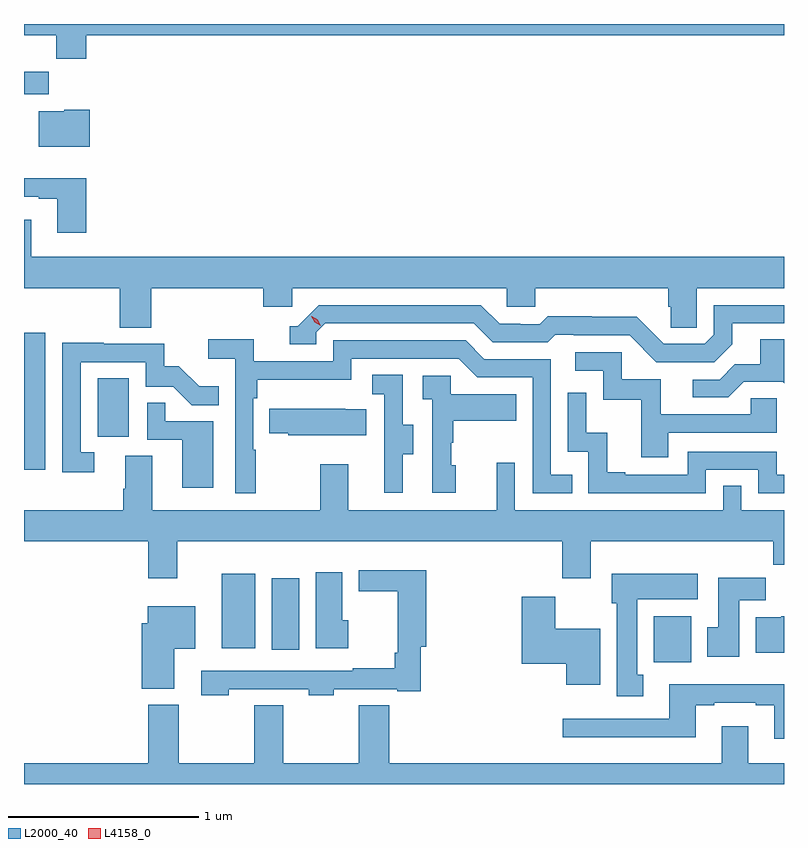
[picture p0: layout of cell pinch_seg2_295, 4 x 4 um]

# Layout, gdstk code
import gdstk
lib = gdstk.Library(unit=1e-6, precision=1e-09)
def R(c, l, rs):  # rectangles x0, y0, x1, y1
    for r in rs: c.add(gdstk.rectangle(r[:2], r[2:], *l))
def P(c, l, *ps):  # polygons
    for p in ps: c.add(gdstk.Polygon(p, *l))
L2000_40 = (2000, 40)
L4158_0 = (4158, 0)

pinch_seg2_295 = lib.new_cell('pinch_seg2_295')
R(pinch_seg2_295, L2000_40, [(915.722,640.34,915.919,640.582), (913.712,640.404,913.855,640.78), (913.448,640.412,913.624,640.804), (912.407,641.352,912.52,642.073), (912.794,641.526,912.958,641.833), (912.407,643.328,912.536,643.446)])
P(pinch_seg2_295, L2000_40, [(912.734,643.64),(916.407,643.64),(916.407,643.698),(912.407,643.698),(912.407,643.64),(912.577,643.64),(912.577,643.516),(912.734,643.516)],
  [(912.754,643.246),(912.618,643.246),(912.618,643.24),(912.485,643.24),(912.485,643.052),(912.754,643.052)],
  [(912.734,642.886),(912.407,642.886),(912.407,642.789),(912.485,642.789),(912.485,642.777),(912.581,642.777),(912.581,642.6),(912.734,642.6)],
  [(913.076,642.308),(913.667,642.308),(913.667,642.21),(913.818,642.21),(913.818,642.308),(914.949,642.308),(914.949,642.21),(915.099,642.21),(915.099,642.308),(915.797,642.308),(915.797,642.21),(915.811,642.21),(915.811,642.1),(915.948,642.1),(915.948,642.308),(916.407,642.308),(916.407,642.472),(912.445,642.472),(912.445,642.667),(912.407,642.667),(912.407,642.308),(912.911,642.308),(912.911,642.1),(913.076,642.1)],
  [(916.135,642.013),(916.135,642.123),(916.407,642.123),(916.407,642.219),(916.038,642.219),(916.038,642.063),(915.99,642.015),(915.774,642.015),(915.632,642.157),(915.396,642.157),(915.396,642.16),(915.163,642.16),(915.121,642.117),(915.018,642.117),(915.018,642.12),(914.911,642.12),(914.812,642.219),(913.959,642.219),(913.848,642.108),(913.805,642.108),(913.805,642.012),(913.944,642.012),(913.944,642.075),(913.992,642.123),(914.775,642.123),(914.874,642.024),(915.163,642.024),(915.202,642.063),(915.301,642.063),(915.301,642.06),(915.594,642.06),(915.735,641.919),(916.041,641.919)],
  [(916.195,641.814),(916.401,641.814),(916.407,641.808),(916.407,642.038),(916.283,642.038),(916.283,641.906),(916.148,641.906),(916.068,641.826),(915.927,641.826),(915.927,641.733),(916.114,641.733)],
  [(913.627,641.456),(913.614,641.456),(913.614,641.729),(913.634,641.729),(913.634,641.825),(914.13,641.825),(914.13,641.937),(914.694,641.937),(914.793,641.838),(915.084,641.838),(915.084,641.229),(915.293,641.229),(915.293,641.325),(915.18,641.325),(915.18,641.934),(914.83,641.934),(914.731,642.033),(914.034,642.033),(914.034,641.922),(913.616,641.922),(913.616,642.038),(913.377,642.038),(913.377,641.936),(913.518,641.936),(913.518,641.229),(913.627,641.229)],
  [(912.778,641.445),(912.705,641.445),(912.705,641.919),(913.047,641.919),(913.047,641.79),(913.192,641.79),(913.29,641.692),(913.433,641.692),(913.433,641.791),(913.329,641.791),(913.222,641.898),(913.146,641.898),(913.146,642.015),(912.827,642.015),(912.827,642.02),(912.609,642.02),(912.609,641.34),(912.778,641.34)],
  [(915.799,641.547),(916.368,641.547),(916.368,641.727),(916.231,641.727),(916.231,641.643),(915.757,641.643),(915.757,641.829),(915.552,641.829),(915.552,641.97),(915.309,641.97),(915.309,641.874),(915.456,641.874),(915.456,641.721),(915.655,641.721),(915.655,641.418),(915.799,641.418)],
  [(914.401,641.434),(914.455,641.434),(914.455,641.589),(914.4,641.589),(914.4,641.852),(914.241,641.852),(914.241,641.749),(914.304,641.749),(914.304,641.445),(914.303,641.445),(914.303,641.232),(914.401,641.232)],
  [(914.68,641.376),(914.655,641.376),(914.655,641.495),(914.665,641.495),(914.665,641.609),(914.999,641.609),(914.999,641.749),(914.652,641.749),(914.652,641.847),(914.505,641.847),(914.505,641.723),(914.556,641.723),(914.556,641.232),(914.68,641.232)],
  [(915.996,641.352),(916.272,641.352),(916.272,641.229),(916.407,641.229),(916.407,641.325),(916.368,641.325),(916.368,641.448),(915.9,641.448),(915.9,641.325),(915.571,641.325),(915.571,641.338),(915.476,641.338),(915.476,641.546),(915.366,641.546),(915.366,641.758),(915.27,641.758),(915.27,641.448),(915.378,641.448),(915.378,641.229),(915.996,641.229)],
  [(913.402,641.607),(913.151,641.607),(913.151,641.705),(913.056,641.705),(913.056,641.511),(913.241,641.511),(913.241,641.256),(913.402,641.256)],
  [(914.207,641.671),(914.099,641.671),(914.099,641.674),(913.699,641.674),(913.699,641.545),(913.797,641.545),(913.797,641.534),(914.207,641.534)],
  [(913.213,640.976),(915.239,640.976),(915.239,640.782),(915.391,640.782),(915.391,640.976),(916.351,640.976),(916.351,640.852),(916.407,640.852),(916.407,641.14),(916.182,641.14),(916.182,641.267),(916.086,641.267),(916.086,641.14),(914.991,641.14),(914.991,641.389),(914.894,641.389),(914.894,641.14),(914.113,641.14),(914.113,641.38),(913.966,641.38),(913.966,641.14),(913.081,641.14),(913.081,641.426),(912.941,641.426),(912.941,641.252),(912.929,641.252),(912.929,641.14),(912.407,641.14),(912.407,640.976),(913.061,640.976),(913.061,640.782),(913.213,640.782)],
  [(913.485,640.197),(913.905,640.197),(913.905,640.165),(914.037,640.165),(914.037,640.197),(914.372,640.197),(914.372,640.185),(914.495,640.185),(914.495,640.421),(914.525,640.421),(914.525,640.822),(914.169,640.822),(914.169,640.713),(914.374,640.713),(914.374,640.39),(914.359,640.39),(914.359,640.306),(914.137,640.306),(914.137,640.293),(913.341,640.293),(913.341,640.165),(913.485,640.165)],
  [(914.113,640.56),(914.083,640.56),(914.083,640.813),(913.943,640.813),(913.943,640.412),(914.113,640.412)],
  [(915.667,640.274),(915.634,640.274),(915.634,640.67),(915.952,640.67),(915.952,640.804),(915.5,640.804),(915.5,640.65),(915.527,640.65),(915.527,640.161),(915.667,640.161)],
  [(916.171,640.664),(916.31,640.664),(916.31,640.783),(916.061,640.783),(916.061,640.524),(916.004,640.524),(916.004,640.368),(916.171,640.368)],
  [(915.439,640.516),(915.204,640.516),(915.204,640.684),(915.026,640.684),(915.026,640.331),(915.26,640.331),(915.26,640.22),(915.439,640.22)],
  [(913.198,640.409),(913.309,640.409),(913.309,640.633),(913.058,640.633),(913.058,640.545),(913.028,640.545),(913.028,640.199),(913.198,640.199)],
  [(916.407,640.582),(916.392,640.582),(916.392,640.576),(916.259,640.576),(916.259,640.388),(916.407,640.388)],
  [(916.407,640.222),(915.803,640.222),(915.803,640.041),(915.243,640.041),(915.243,639.944),(915.943,639.944),(915.943,640.113),(916.039,640.113),(916.039,640.125),(916.259,640.125),(916.259,640.113),(916.355,640.113),(916.355,639.936),(916.407,639.936)],
  [(916.407,639.808),(916.219,639.808),(916.219,640.003),(916.079,640.003),(916.079,639.808),(914.33,639.808),(914.33,640.112),(914.17,640.112),(914.17,639.808),(913.772,639.808),(913.772,640.112),(913.618,640.112),(913.618,639.808),(913.221,639.808),(913.221,640.114),(913.061,640.114),(913.061,639.808),(912.407,639.808),(912.407,639.698),(916.407,639.698)])
P(pinch_seg2_295, L4158_0, [(913.968,642.109),(913.937,642.128),(913.92,642.16),(913.92,642.161),(913.921,642.161),(913.952,642.142),(913.968,642.11),(913.968,642.109)])

lib.write_gds('pinch_seg2_295.gds')
